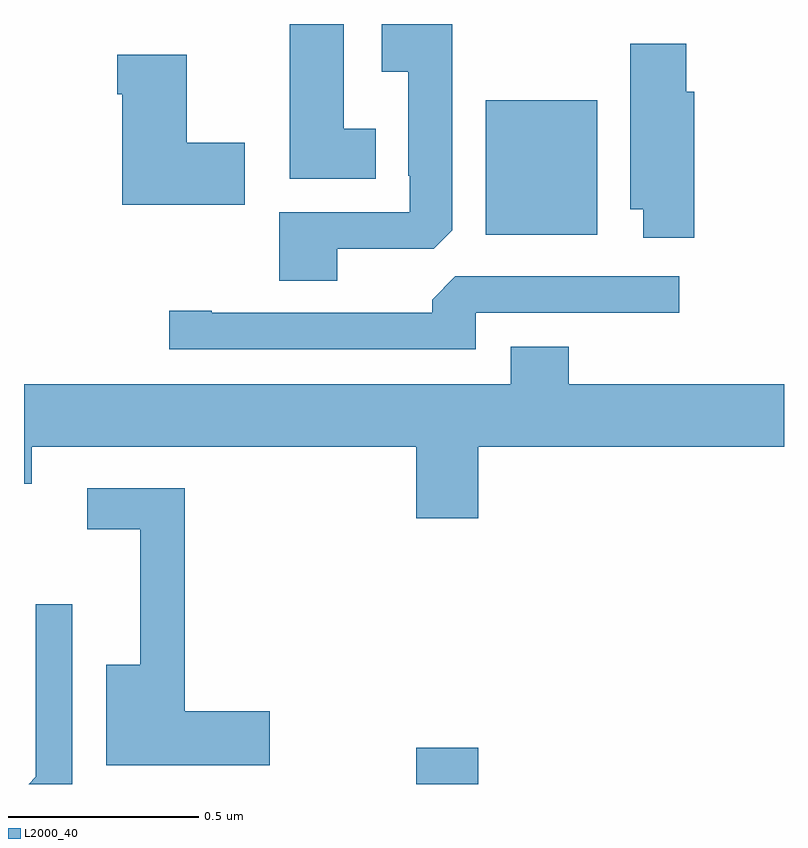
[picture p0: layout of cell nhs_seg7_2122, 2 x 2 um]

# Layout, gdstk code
import gdstk
lib = gdstk.Library(unit=1e-6, precision=1e-09)
def R(c, l, rs):  # rectangles x0, y0, x1, y1
    for r in rs: c.add(gdstk.rectangle(r[:2], r[2:], *l))
def P(c, l, *ps):  # polygons
    for p in ps: c.add(gdstk.Polygon(p, *l))
L2000_40 = (2000, 40)

nhs_seg7_2122 = lib.new_cell('nhs_seg7_2122')
R(nhs_seg7_2122, L2000_40, [(141.032,1061,141.196,1061.095), (141.215,1062.446,141.508,1062.799)])
P(nhs_seg7_2122, L2000_40, [(140.824,1062.408),(141.078,1062.408),(141.127,1062.457),(141.127,1063),(140.942,1063),(140.942,1062.875),(141.011,1062.875),(141.011,1062.601),(141.015,1062.601),(141.015,1062.504),(140.672,1062.504),(140.672,1062.325),(140.824,1062.325)],
  [(140.926,1062.724),(140.842,1062.724),(140.842,1063),(140.699,1063),(140.699,1062.593),(140.926,1062.593)],
  [(141.764,1062.822),(141.743,1062.822),(141.743,1062.948),(141.596,1062.948),(141.596,1062.512),(141.629,1062.512),(141.629,1062.438),(141.764,1062.438)],
  [(140.581,1062.687),(140.428,1062.687),(140.428,1062.919),(140.246,1062.919),(140.246,1062.815),(140.258,1062.815),(140.258,1062.524),(140.581,1062.524)],
  [(141.189,1062.24),(141.724,1062.24),(141.724,1062.336),(141.135,1062.336),(141.074,1062.274),(141.074,1062.24),(140.494,1062.24),(140.494,1062.245),(140.382,1062.245),(140.382,1062.144),(141.189,1062.144)],
  [(141.196,1061.888),(142,1061.888),(142,1062.052),(141.434,1062.052),(141.434,1062.151),(141.281,1062.151),(141.281,1062.052),(140,1062.052),(140,1061.79),(140.02,1061.79),(140.02,1061.888),(141.032,1061.888),(141.032,1061.7),(141.196,1061.7)],
  [(140.647,1061.192),(140.423,1061.192),(140.423,1061.778),(140.166,1061.778),(140.166,1061.67),(140.306,1061.67),(140.306,1061.314),(140.216,1061.314),(140.216,1061.05),(140.647,1061.05)],
  [(140.127,1061.473),(140.031,1061.473),(140.031,1061.019),(140.012,1061),(140.127,1061)])

lib.write_gds('nhs_seg7_2122.gds')
